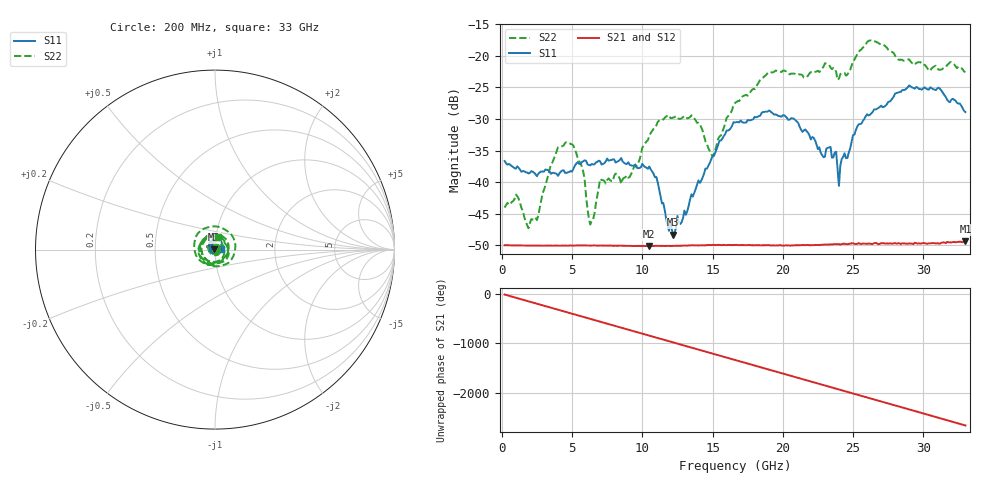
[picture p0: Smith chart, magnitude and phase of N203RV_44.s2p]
# GHZ S RI R 50
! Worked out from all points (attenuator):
!   329 points, 200 MHz to 33 GHz, reference 50 ohm
!   highest |S21| = -49.36 dB at 33 GHz (marker M1); lowest = -50.1 dB at 10.5 GHz (marker M2)
!   lowest |S11| = -48.3 dB at 12.2 GHz (marker M3), VSWR 1.01, Z = 49.6 + j0.0557 ohm
!   |S11| at or under -10 dB: start of sweep to end of sweep
!   |S22| runs from -47.3 to -17.6 dB; largest |S21 - S12| = 7.2e-05
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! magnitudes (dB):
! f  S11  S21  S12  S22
! 200 MHz  -36.7  -50.0  -50.0  -44.0
! 1 GHz  -37.9  -50.0  -50.0  -42.0
! 1.9 GHz  -38.6  -50.0  -50.0  -47.3
! 4 GHz  -39.0  -50.0  -50.0  -34.5
! 5.7 GHz  -36.8  -50.0  -50.0  -37.5
! 6.3 GHz  -37.3  -50.0  -50.0  -46.7
! 7 GHz  -36.7  -50.0  -50.0  -39.5
! 9.1 GHz  -37.2  -50.1  -50.1  -39.2
! 10.5 GHz  -37.5  -50.1  -50.1  -32.7
! 11.2 GHz  -41.2  -50.1  -50.1  -30.2
! 12.2 GHz  -48.3  -50.1  -50.0  -29.8
! 13.5 GHz  -41.9  -50.0  -50.0  -29.4
! 15 GHz  -35.9  -49.9  -49.9  -36.0
! 16.6 GHz  -30.5  -49.9  -49.9  -27.5
! 19 GHz  -28.7  -50.0  -50.0  -22.6
! 22.1 GHz  -32.8  -50.0  -49.9  -22.7
! 23.8 GHz  -35.2  -49.8  -49.8  -22.5
! 24 GHz  -40.6  -49.8  -49.8  -23.6
! 25.4 GHz  -30.8  -49.6  -49.7  -19.4
! 27.6 GHz  -27.3  -49.7  -49.7  -19.2
! 31.1 GHz  -25.0  -49.7  -49.5  -22.2
! 33 GHz  -28.9  -49.4  -49.4  -22.6
